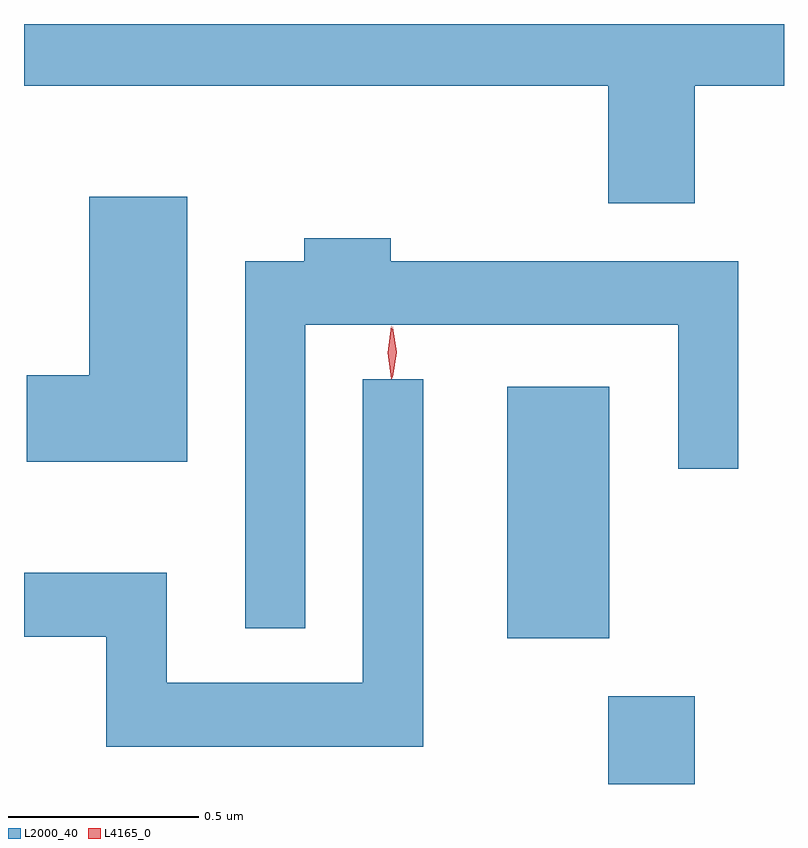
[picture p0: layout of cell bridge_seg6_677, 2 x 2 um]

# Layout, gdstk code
import gdstk
lib = gdstk.Library(unit=1e-6, precision=1e-09)
def R(c, l, rs):  # rectangles x0, y0, x1, y1
    for r in rs: c.add(gdstk.rectangle(r[:2], r[2:], *l))
def P(c, l, *ps):  # polygons
    for p in ps: c.add(gdstk.Polygon(p, *l))
L2000_40 = (2000, 40)
L4165_0 = (4165, 0)

bridge_seg6_677 = lib.new_cell('bridge_seg6_677')
R(bridge_seg6_677, L2000_40, [(310.611,1634.778,310.839,1635.009), (310.346,1635.161,310.614,1635.824)])
P(bridge_seg6_677, L2000_40, [(310.839,1636.616),(311.074,1636.616),(311.074,1636.778),(309.074,1636.778),(309.074,1636.616),(310.611,1636.616),(310.611,1636.306),(310.839,1636.306)],
  [(309.504,1636.324),(309.246,1636.324),(309.246,1635.854),(309.081,1635.854),(309.081,1635.626),(309.504,1635.626)],
  [(309.814,1635.986),(310.796,1635.986),(310.796,1635.608),(310.954,1635.608),(310.954,1636.154),(310.039,1636.154),(310.039,1636.214),(309.811,1636.214),(309.811,1636.154),(309.656,1636.154),(309.656,1635.188),(309.814,1635.188)],
  [(310.124,1635.843),(309.966,1635.843),(309.966,1635.044),(309.449,1635.044),(309.449,1635.334),(309.074,1635.334),(309.074,1635.166),(309.291,1635.166),(309.291,1634.876),(310.124,1634.876)])
P(bridge_seg6_677, L4165_0, [(310.041,1635.843),(310.041,1635.844),(310.031,1635.913),(310.04,1635.982),(310.041,1635.983),(310.041,1635.982),(310.051,1635.913),(310.042,1635.844)],
  [(310.045,1635.847),(310.044,1635.848),(310.035,1635.914),(310.044,1635.98),(310.045,1635.981),(310.045,1635.98),(310.055,1635.914),(310.045,1635.848)])

lib.write_gds('bridge_seg6_677.gds')
